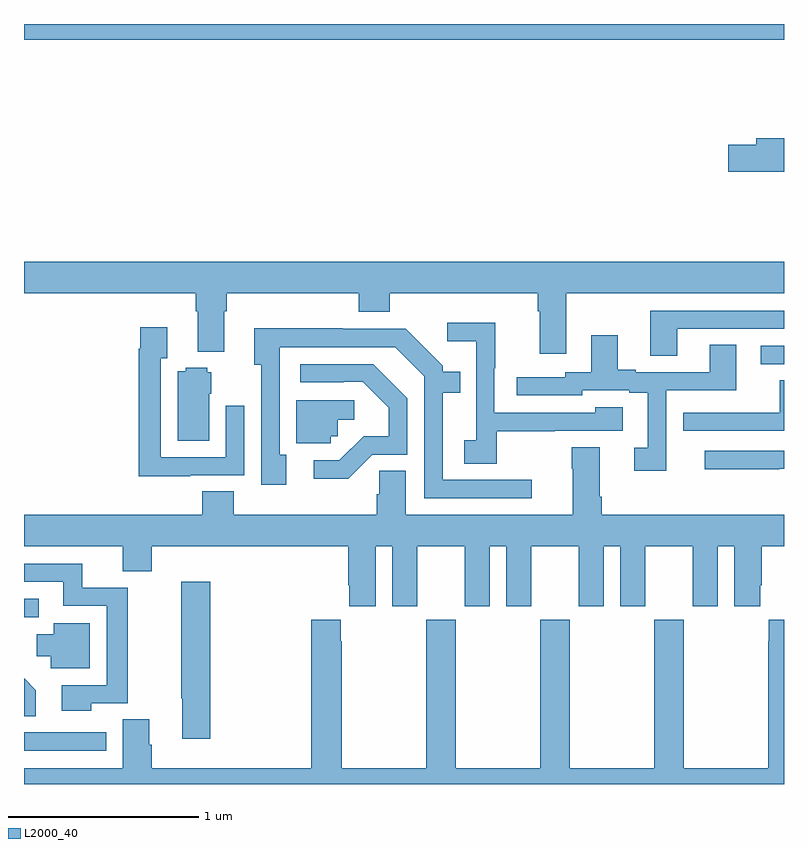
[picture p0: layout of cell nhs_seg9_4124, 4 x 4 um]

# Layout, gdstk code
import gdstk
lib = gdstk.Library(unit=1e-6, precision=1e-09)
def R(c, l, rs):  # rectangles x0, y0, x1, y1
    for r in rs: c.add(gdstk.rectangle(r[:2], r[2:], *l))
def P(c, l, *ps):  # polygons
    for p in ps: c.add(gdstk.Polygon(p, *l))
L2000_40 = (2000, 40)

nhs_seg9_4124 = lib.new_cell('nhs_seg9_4124')
R(nhs_seg9_4124, L2000_40, [(347,1196.676,347.434,1196.772), (347,1197.378,347.077,1197.474), (350.877,1198.71,351,1198.806), (347,1200.416,351,1200.5)])
P(nhs_seg9_4124, L2000_40, [(351,1199.9),(350.855,1199.9),(350.855,1199.864),(350.706,1199.864),(350.706,1199.722),(351,1199.722)],
  [(349.855,1199.084),(351,1199.084),(351,1199.248),(347,1199.248),(347,1199.084),(347.903,1199.084),(347.903,1198.988),(347.915,1198.988),(347.915,1198.775),(348.055,1198.775),(348.055,1198.988),(348.068,1198.988),(348.068,1199.084),(348.761,1199.084),(348.761,1198.985),(348.926,1198.985),(348.926,1199.084),(349.703,1199.084),(349.703,1198.988),(349.715,1198.988),(349.715,1198.764),(349.855,1198.764)],
  [(350.437,1198.896),(351,1198.896),(351,1198.992),(350.297,1198.992),(350.297,1198.753),(350.437,1198.753)],
  [(349.489,1198.357),(349.793,1198.357),(349.793,1198.359),(350.152,1198.359),(350.152,1198.483),(350.007,1198.483),(350.007,1198.455),(349.476,1198.455),(349.476,1198.688),(349.479,1198.688),(349.479,1198.927),(349.227,1198.927),(349.227,1198.829),(349.38,1198.829),(349.38,1198.308),(349.317,1198.308),(349.317,1198.186),(349.489,1198.186)],
  [(347.875,1198.125),(348.159,1198.125),(348.159,1198.492),(348.063,1198.492),(348.063,1198.221),(347.721,1198.221),(347.721,1198.742),(347.755,1198.742),(347.755,1198.903),(347.613,1198.903),(347.613,1198.79),(347.605,1198.79),(347.605,1198.121),(347.875,1198.121)],
  [(349.672,1198.101),(349.204,1198.101),(349.204,1198.56),(349.295,1198.56),(349.295,1198.669),(349.203,1198.669),(349.203,1198.701),(349.008,1198.896),(348.677,1198.896),(348.677,1198.898),(348.212,1198.898),(348.212,1198.706),(348.249,1198.706),(348.249,1198.074),(348.379,1198.074),(348.379,1198.234),(348.345,1198.234),(348.345,1198.8),(348.954,1198.8),(349.107,1198.647),(349.107,1198.005),(349.672,1198.005)],
  [(350.379,1198.572),(350.749,1198.572),(350.749,1198.811),(350.609,1198.811),(350.609,1198.668),(350.221,1198.668),(350.221,1198.681),(350.125,1198.681),(350.125,1198.861),(349.985,1198.861),(349.985,1198.668),(349.848,1198.668),(349.848,1198.641),(349.593,1198.641),(349.593,1198.545),(349.938,1198.545),(349.938,1198.572),(350.186,1198.572),(350.186,1198.56),(350.282,1198.56),(350.282,1198.269),(350.211,1198.269),(350.211,1198.149),(350.379,1198.149)],
  [(348.834,1198.233),(349.017,1198.233),(349.017,1198.531),(348.838,1198.71),(348.453,1198.71),(348.453,1198.614),(348.683,1198.614),(348.683,1198.617),(348.783,1198.617),(348.92,1198.48),(348.92,1198.33),(348.787,1198.33),(348.66,1198.203),(348.525,1198.203),(348.525,1198.106),(348.706,1198.106)],
  [(347.974,1198.554),(347.986,1198.554),(347.986,1198.668),(347.964,1198.668),(347.964,1198.69),(347.85,1198.69),(347.85,1198.672),(347.81,1198.672),(347.81,1198.306),(347.974,1198.306)],
  [(351,1198.625),(350.977,1198.625),(350.977,1198.455),(350.581,1198.455),(350.581,1198.454),(350.469,1198.454),(350.469,1198.359),(351,1198.359)],
  [(348.615,1198.329),(348.651,1198.329),(348.651,1198.418),(348.739,1198.418),(348.739,1198.521),(348.434,1198.521),(348.434,1198.293),(348.615,1198.293)],
  [(348.85,1197.752),(348.938,1197.752),(348.938,1197.435),(349.069,1197.435),(349.069,1197.752),(349.319,1197.752),(349.319,1197.435),(349.45,1197.435),(349.45,1197.752),(349.538,1197.752),(349.538,1197.435),(349.669,1197.435),(349.669,1197.752),(349.919,1197.752),(349.919,1197.435),(350.05,1197.435),(350.05,1197.752),(350.138,1197.752),(350.138,1197.435),(350.269,1197.435),(350.269,1197.752),(350.519,1197.752),(350.519,1197.435),(350.65,1197.435),(350.65,1197.752),(350.738,1197.752),(350.738,1197.435),(350.875,1197.435),(350.875,1197.547),(350.882,1197.547),(350.882,1197.752),(351,1197.752),(351,1197.916),(350.042,1197.916),(350.042,1198.012),(350.029,1198.012),(350.029,1198.273),(349.882,1198.273),(349.882,1198.16),(349.889,1198.16),(349.889,1197.916),(349.009,1197.916),(349.009,1198.148),(348.871,1198.148),(348.871,1198.026),(348.857,1198.026),(348.857,1197.916),(348.104,1197.916),(348.104,1198.04),(347.939,1198.04),(347.939,1197.916),(347,1197.916),(347,1197.752),(347.519,1197.752),(347.519,1197.619),(347.672,1197.619),(347.672,1197.752),(348.707,1197.752),(348.707,1197.547),(348.713,1197.547),(348.713,1197.435),(348.85,1197.435)],
  [(350.975,1198.158),(351,1198.158),(351,1198.254),(350.583,1198.254),(350.583,1198.156),(350.975,1198.156)],
  [(347.355,1196.925),(347.545,1196.925),(347.545,1197.534),(347.306,1197.534),(347.306,1197.66),(347,1197.66),(347,1197.564),(347.207,1197.564),(347.207,1197.438),(347.436,1197.438),(347.436,1197.021),(347.199,1197.021),(347.199,1196.885),(347.355,1196.885)],
  [(347.981,1197.565),(347.827,1197.565),(347.827,1196.951),(347.834,1196.951),(347.834,1196.739),(347.981,1196.739)],
  [(351,1197.364),(350.921,1197.364),(350.921,1197.251),(350.917,1197.251),(350.917,1196.584),(350.472,1196.584),(350.472,1197.364),(350.317,1197.364),(350.317,1196.584),(349.872,1196.584),(349.872,1197.364),(349.717,1197.364),(349.717,1196.584),(349.272,1196.584),(349.272,1197.364),(349.117,1197.364),(349.117,1196.584),(348.672,1196.584),(348.672,1197.251),(348.667,1197.251),(348.667,1197.364),(348.512,1197.364),(348.512,1196.584),(347.672,1196.584),(347.672,1196.706),(347.659,1196.706),(347.659,1196.84),(347.519,1196.84),(347.519,1196.584),(347,1196.584),(347,1196.5),(351,1196.5)],
  [(347.347,1197.346),(347.156,1197.346),(347.156,1197.289),(347.066,1197.289),(347.066,1197.173),(347.141,1197.173),(347.141,1197.11),(347.347,1197.11)],
  [(347.063,1196.993),(347,1197.056),(347,1196.857),(347.063,1196.857)])

lib.write_gds('nhs_seg9_4124.gds')
